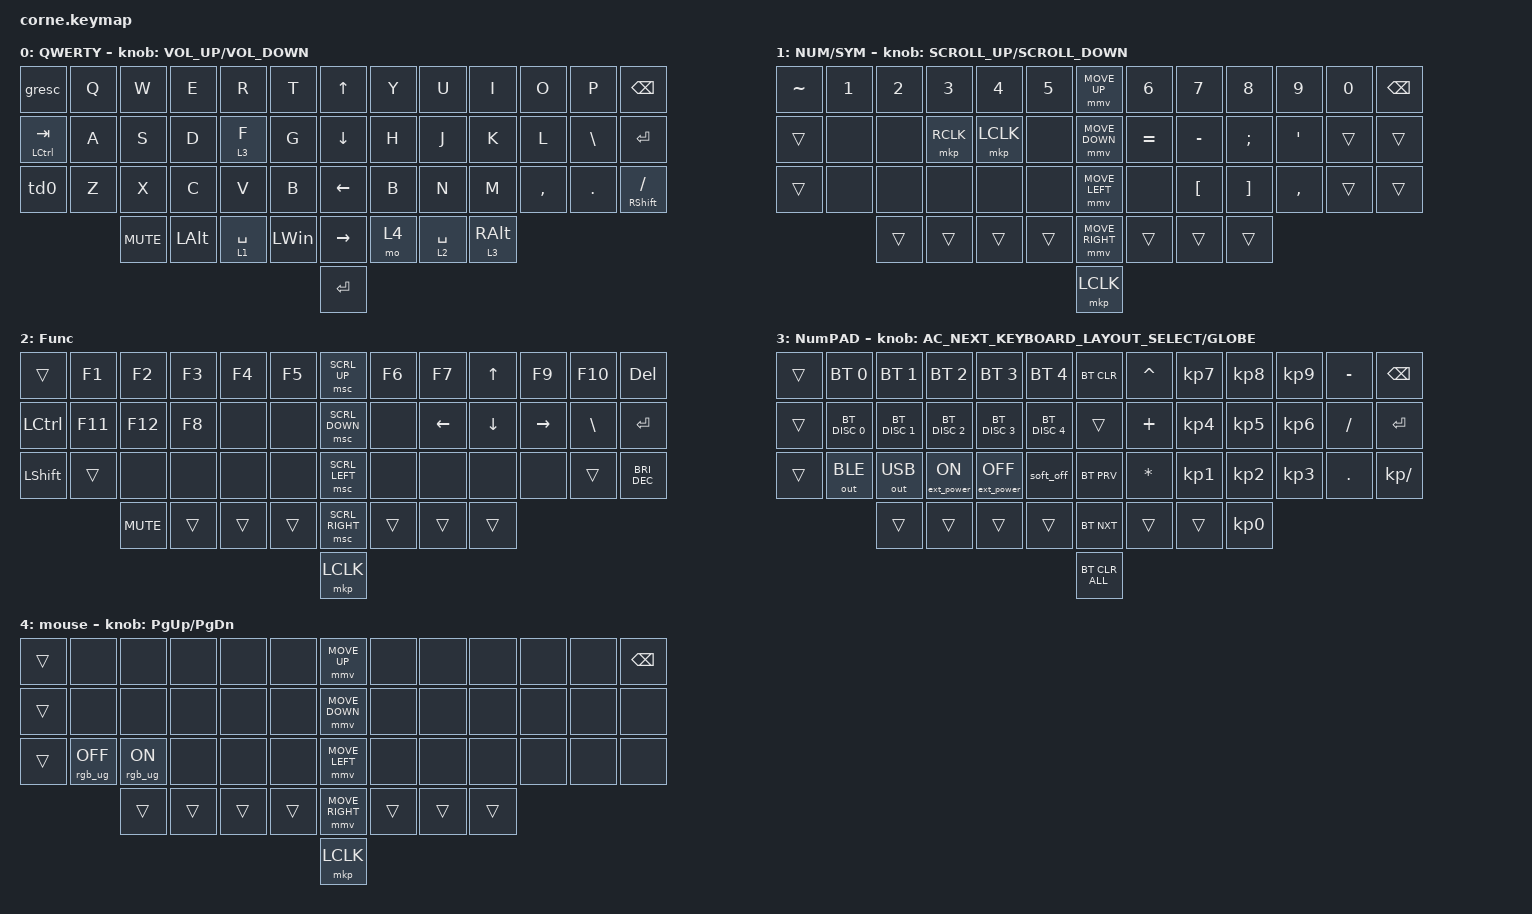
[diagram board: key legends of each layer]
#include <behaviors.dtsi>
#include <dt-bindings/zmk/bt.h>
#include <dt-bindings/zmk/ext_power.h>
#include <dt-bindings/zmk/keys.h>
#include <dt-bindings/zmk/mouse.h>
#include <dt-bindings/zmk/outputs.h>
#include <dt-bindings/zmk/rgb.h>

#define ZMK_MOUSE_DEFAULT_MOVE_VAL 2500  // 600
#define ZMK_MOUSE_DEFAULT_SCRL_VAL 20    // 10
#define U_MS_U &mmv MOVE_UP
#define U_MS_D &mmv MOVE_DOWN
#define U_MS_L &mmv MOVE_LEFT
#define U_MS_R &mmv MOVE_RIGHT
#define U_WH_U &msc SCRL_UP
#define U_WH_D &msc SCRL_DOWN
#define U_WH_L &msc SCRL_LEFT
#define U_WH_R &msc SCRL_RIGHT

/ {
    behaviors {
        td0: td0 {
            compatible = "zmk,behavior-tap-dance";
            label = "SFT+CAP";
            #binding-cells = <0>;
            bindings = <&kp LEFT_SHIFT>, <&kp CAPS>;
        };

        mmv {
            acceleration-exponent = <1>;      // 1
            time-to-max-speed-ms = <300>;    // 40
            delay-ms = <0>;                   // 0
        };

        msc {
            acceleration-exponent = <0>;      // 0
            time-to-max-speed-ms = <40>;      // 500
            delay-ms = <0>;                   // 10
        };
    };

    keymap {
        compatible = "zmk,keymap";

        layer_default {
            display-name = "QWERTY";

            // --------------------------------------------------------------------------------
            // |  TAB |  Q  |  W  |  E  |  R  |  T  |   |  Y  |  U   |  I  |  O  |  P  | BKSP |
            // | CTRL |  A  |  S  |  D  |  F  |  G  |   |  H  |  J   |  K  |  L  |  ;  |  '   | 
            // | SHFT |  Z  |  X  |  C  |  V  |  B  |   |  N  |  M   |  ,  |  .  |  /  | ESC  |
            //                    | GUI | LWR | SPC |   | ENT | RSE  | ALT |

            bindings = <
&gresc                &kp Q  &kp W       &kp E         &kp R        &kp T           &kp UP_ARROW     &kp Y  &kp U        &kp I            &kp O      &kp P          &kp BSPC
&mt LEFT_CONTROL TAB  &kp A  &kp S       &kp D         &lt 3 F      &kp G           &kp DOWN_ARROW   &kp H  &kp J        &kp K            &kp L      &kp BACKSLASH  &kp ENTER
&td0                  &kp Z  &kp X       &kp C         &kp V        &kp B           &kp LEFT_ARROW   &kp B  &kp N        &kp M            &kp COMMA  &kp PERIOD     &mt RIGHT_SHIFT SLASH
                             &kp K_MUTE  &kp LEFT_ALT  &lt 1 SPACE  &kp LEFT_WIN    &kp RIGHT_ARROW  &mo 4  &lt 2 SPACE  &lt 3 RIGHT_ALT
                                                                                    &kp ENTER
            >;

            label = "QWERTY";
            sensor-bindings = <&inc_dec_kp C_VOLUME_UP C_VOLUME_DOWN>;
        };

        layer_1 {
            display-name = "NUM/SYM";

            // -----------------------------------------------------------------------------------------
            // |  TAB |  1  |  2  |  3  |  4  |  5  |   |  6  |  7  |  8  |  9  |  0  | BKSP |
            // | BTCLR| BT1 | BT2 | BT3 | BT4 | BT5 |   | LFT | DWN |  UP | RGT |     |      |
            // | SHFT |     |     |     |     |     |   |     |     |     |     |     |      |
            //                    | GUI |     | SPC |   | ENT |     | ALT |

            bindings = <
&kp TILDE  &kp N1  &kp N2  &kp N3     &kp N4     &kp N5    &mmv MOVE_UP     &kp N6     &kp N7            &kp N8             &kp N9     &kp N0  &kp BSPC
&trans     &none   &none   &mkp RCLK  &mkp LCLK  &none     &mmv MOVE_DOWN   &kp EQUAL  &kp MINUS         &kp SEMICOLON      &kp SQT    &trans  &trans
&trans     &none   &none   &none      &none      &none     &mmv MOVE_LEFT   &none      &kp LEFT_BRACKET  &kp RIGHT_BRACKET  &kp COMMA  &trans  &trans
                   &trans  &trans     &trans     &trans    &mmv MOVE_RIGHT  &trans     &trans            &trans
                                                           &mkp LCLK
            >;

            label = "NUM/SYM";
            sensor-bindings = <&inc_dec_kp K_SCROLL_UP K_SCROLL_DOWN>;
        };

        layer_2 {
            display-name = "Func";
            bindings = <
&trans          &kp F1   &kp F2      &kp F3  &kp F4  &kp F5    &msc SCRL_UP     &kp F6  &kp F7          &kp UP          &kp F9           &kp F10   &kp DELETE
&kp LCTRL       &kp F11  &kp F12     &kp F8  &none   &none     &msc SCRL_DOWN   &none   &kp LEFT_ARROW  &kp DOWN_ARROW  &kp RIGHT_ARROW  &kp BSLH  &kp ENTER
&kp LEFT_SHIFT  &trans   &none       &none   &none   &none     &msc SCRL_LEFT   &none   &none           &none           &none            &trans    &kp C_BRIGHTNESS_DEC
                         &kp C_MUTE  &trans  &trans  &trans    &msc SCRL_RIGHT  &trans  &trans          &trans
                                                               &mkp LCLK
            >;

            label = "Func";
        };

        layer_3 {
            display-name = "NumPAD";

            // -----------------------------------------------------------------------------------------
            // |  TAB |  !  |  @  |  #  |  $  |  %  |   |  ^  |  &  |  *  |  (  |  )  | BKSP |
            // | CTRL |     |     |     |     |     |   |  -  |  =  |  [  |  ]  |  \  |  `   |
            // | SHFT |     |     |     |     |     |   |  _  |  +  |  {  |  }  | "|" |  ~   |
            //                    | GUI |     | SPC |   | ENT |     | ALT |

            bindings = <
&trans  &bt BT_SEL 0   &bt BT_SEL 1   &bt BT_SEL 2      &bt BT_SEL 3       &bt BT_SEL 4     &bt BT_CLR      &kp CARET     &kp KP_NUMBER_7  &kp KP_NUMBER_8  &kp KP_NUMBER_9  &kp MINUS   &kp BSPC
&trans  &bt BT_DISC 0  &bt BT_DISC 1  &bt BT_DISC 2     &bt BT_DISC 3      &bt BT_DISC 4    &trans          &kp PLUS      &kp KP_NUMBER_4  &kp KP_NUMBER_5  &kp KP_NUMBER_6  &kp SLASH   &kp ENTER
&trans  &out OUT_BLE   &out OUT_USB   &ext_power EP_ON  &ext_power EP_OFF  &soft_off        &bt BT_PRV      &kp ASTERISK  &kp KP_NUMBER_1  &kp KP_NUMBER_2  &kp KP_NUMBER_3  &kp PERIOD  &kp KP_DIVIDE
                       &trans         &trans            &trans             &trans           &bt BT_NXT      &trans        &trans           &kp KP_NUMBER_0
                                                                                            &bt BT_CLR_ALL
            >;

            label = "NumPAD";
            sensor-bindings = <&inc_dec_kp C_AC_NEXT_KEYBOARD_LAYOUT_SELECT GLOBE>;
        };

        layer_4 {
            label = "RGB";
            display-name = "mouse";
            bindings = <
&trans  &none            &none           &none   &none   &none     &mmv MOVE_UP     &none   &none   &none   &none  &none  &kp BSPC
&trans  &none            &none           &none   &none   &none     &mmv MOVE_DOWN   &none   &none   &none   &none  &none  &none
&trans  &rgb_ug RGB_OFF  &rgb_ug RGB_ON  &none   &none   &none     &mmv MOVE_LEFT   &none   &none   &none   &none  &none  &none
                         &trans          &trans  &trans  &trans    &mmv MOVE_RIGHT  &trans  &trans  &trans
                                                                   &mkp LCLK
            >;

            sensor-bindings = <&inc_dec_kp PG_UP PG_DN>;
        };
    };
};
